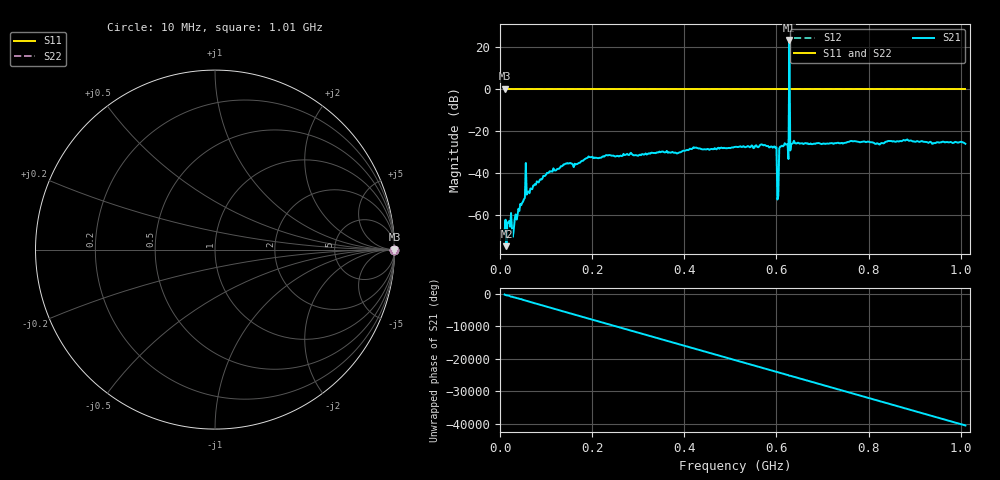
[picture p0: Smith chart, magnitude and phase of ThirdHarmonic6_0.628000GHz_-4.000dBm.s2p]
! 8/15/2025 8:41:25 PM
! C:\ANRITSUVNA\TEMP\TEMP.S2P
! CHANNEL.1
! TR.MEASUREMENT
! RAW.DATA
! RF.CORRECTION.OFF
! AVERAGING.OFF
! IF.BANDWIDTH: 5KHZ
! SWEEPTYPE:  FREQ.SWEEP(Linear)
! Reference Plane Port Info
! PORT:  PORT1  PORT2
! DISTANCE:  0  m  0  m
! TIME:  0  s  0  s
! PHASE.OFFSET:  0  deg.  0  deg.
! LOSS:  0  dB  0  dB
! REF.LOSS:  0  dB  0  dB
! REF.FREQ:  0  Hz  0  Hz
! Power Info
! POWER:  -20  dBm  -20  dBm
! EFF.POWER:  -20  dBm  -20  dBm
! SOURCE.ATTEN:  0  dB  0  dB
! TEST.ATTEN:  0  dB  0  dB
# GHZ S RI R 50.0
! FREQ.GHZ  S11RE  S11IM  S21RE  S21IM  S12RE  S12IM  S22RE  S22IM
!; PortSelection: Port_12
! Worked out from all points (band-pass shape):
!   501 points, 10 MHz to 1.01 GHz, reference 50 ohm
!   highest |S21| = 22.92 dB at 628 MHz (marker M1); lowest = -74.7 dB at 14 MHz (marker M2)
!   |S21| within 3 dB of the highest: 627.8933 MHz to 628.115 MHz (221.6 kHz wide, 0.0353 % of centre)
!   lowest |S11| = 0.0 dB at 10 MHz (marker M3)
!   |S11| at or under -10 dB: nowhere
!   |S22| runs from 0.0 to 0.0 dB; largest |S21 - S12| = 13
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0.01  1 0  -0.000406 -2.31e-05  1 0  1 0
0.014  1 0  4.44e-05 -0.000179  1 0  1 0
0.02  1 0  -0.000721 0.000111  1 0  1 0
0.032  1 0  0.000748 -0.000333  1 0  1 0
0.06  1 0  0.0015 -0.00326  1 0  1 0
0.062  1 0  -0.00295 -0.00216  1 0  1 0
0.178  1 0  -0.0192 -0.00352  1 0  1 0
0.344  1 0  0.0296 -0.0086  1 0  1 0
0.51  1 0  -0.0377 0.0184  1 0  1 0
0.596  1 0  0.0178 -0.039  1 0  1 0
0.6  1 0  -0.0303 0.0275  1 0  1 0
0.602  1 0  -0.00022 0.00234  1 0  1 0
0.606  1 0  -0.00771 -0.0376  1 0  1 0
0.61  1 0  -0.00728 0.0425  1 0  1 0
0.622  1 0  0.044 -0.019  1 0  1 0
0.624  1 0  -0.00981 -0.0475  1 0  1 0
0.628  1 0  13.92 1.471  1 0  1 0
0.632  1 0  0.0177 -0.0458  1 0  1 0
0.634  1 0  -0.042 -0.0266  1 0  1 0
0.678  1 0  -0.0284 -0.0395  1 0  1 0
0.844  1 0  0.047 0.0337  1 0  1 0
1.01  1 0  -0.0494 -0.00389  1 0  1 0
